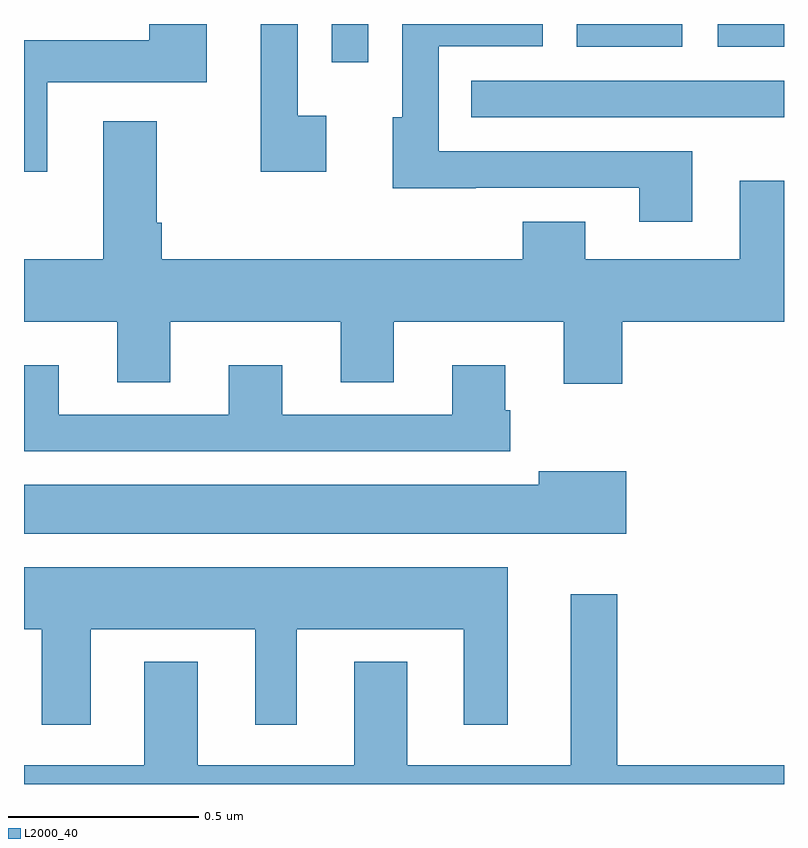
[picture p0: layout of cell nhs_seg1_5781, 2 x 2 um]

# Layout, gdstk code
import gdstk
lib = gdstk.Library(unit=1e-6, precision=1e-09)
def R(c, l, rs):  # rectangles x0, y0, x1, y1
    for r in rs: c.add(gdstk.rectangle(r[:2], r[2:], *l))
def P(c, l, *ps):  # polygons
    for p in ps: c.add(gdstk.Polygon(p, *l))
L2000_40 = (2000, 40)

nhs_seg1_5781 = lib.new_cell('nhs_seg1_5781')
R(nhs_seg1_5781, L2000_40, [(183.81,535.098,183.906,535.199), (184.454,535.139,184.732,535.199), (184.826,535.139,185,535.199)])
P(nhs_seg1_5781, L2000_40, [(183.796,534.958),(183.72,534.958),(183.72,535.199),(183.623,535.199),(183.623,534.81),(183.796,534.81)],
  [(183.061,535.046),(183.481,535.046),(183.481,535.199),(183.329,535.199),(183.329,535.156),(183,535.156),(183,534.81),(183.061,534.81)],
  [(184.759,534.864),(184.092,534.864),(184.092,535.14),(184.365,535.14),(184.365,535.199),(183.996,535.199),(183.996,534.954),(183.971,534.954),(183.971,534.767),(184.189,534.767),(184.189,534.768),(184.619,534.768),(184.619,534.678),(184.759,534.678)],
  [(185,535.05),(184.177,535.05),(184.177,534.954),(184.855,534.954),(184.855,534.953),(185,534.953)],
  [(184.574,534.416),(185,534.416),(185,534.787),(184.883,534.787),(184.883,534.58),(184.477,534.58),(184.477,534.679),(184.313,534.679),(184.313,534.58),(183.362,534.58),(183.362,534.676),(183.349,534.676),(183.349,534.943),(183.209,534.943),(183.209,534.58),(183,534.58),(183,534.416),(183.245,534.416),(183.245,534.256),(183.385,534.256),(183.385,534.416),(183.833,534.416),(183.833,534.256),(183.973,534.256),(183.973,534.416),(184.421,534.416),(184.421,534.252),(184.574,534.252)],
  [(184.28,534.183),(184.267,534.183),(184.267,534.301),(184.127,534.301),(184.127,534.171),(183.679,534.171),(183.679,534.301),(183.539,534.301),(183.539,534.171),(183.091,534.171),(183.091,534.301),(183,534.301),(183,534.075),(184.28,534.075)],
  [(184.585,534.022),(184.355,534.022),(184.355,533.986),(183,533.986),(183,533.858),(184.585,533.858)],
  [(183.175,533.606),(183.608,533.606),(183.608,533.355),(183.718,533.355),(183.718,533.606),(184.157,533.606),(184.157,533.355),(184.273,533.355),(184.273,533.77),(183,533.77),(183,533.606),(183.047,533.606),(183.047,533.355),(183.175,533.355)],
  [(185,533.248),(184.561,533.248),(184.561,533.698),(184.439,533.698),(184.439,533.248),(184.009,533.248),(184.009,533.521),(183.869,533.521),(183.869,533.248),(183.457,533.248),(183.457,533.521),(183.317,533.521),(183.317,533.248),(183,533.248),(183,533.199),(185,533.199)])

lib.write_gds('nhs_seg1_5781.gds')
